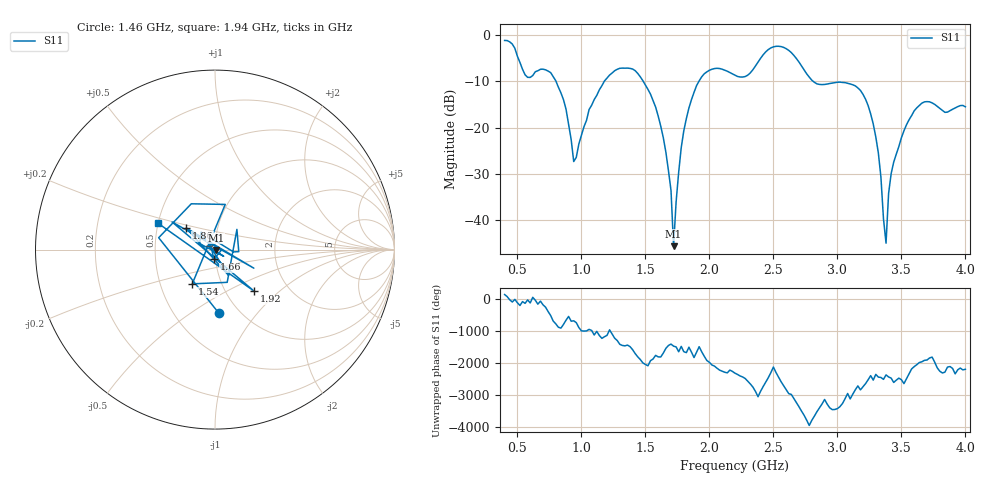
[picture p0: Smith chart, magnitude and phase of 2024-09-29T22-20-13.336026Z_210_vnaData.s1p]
!Created with skrf (http://scikit-rf.org).
# Hz S RI R 50.0
!freq ReS11 ImS11
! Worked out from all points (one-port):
!   181 points, 400 MHz to 4 GHz, reference 50 ohm
!   lowest |S11| = -45.6 dB at 1.72 GHz (marker M1), VSWR 1.01, Z = 50.5 - j0.258 ohm
!   |S11| at or under -10 dB: 801.4 MHz to 1.179 GHz (377.8 MHz wide, 38.1 % of centre); 1.483 GHz to 1.918 GHz (435.9 MHz wide, 25.6 % of centre); 2.81 GHz to end of sweep
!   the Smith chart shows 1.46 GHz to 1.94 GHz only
!   S11 on the Smith chart (normalised r, x): 1.46 GHz: 0.81, -0.65; 1.54 GHz: 0.73, -0.29; 1.66 GHz: 0.98, -0.11; 1.86 GHz: 0.71, +0.18; 1.92 GHz: 1.35, -0.70; 1.94 GHz: 0.50, +0.17
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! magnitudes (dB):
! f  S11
! 400 MHz  -1.2
! 760 MHz  -8.1
! 860 MHz  -14.0
! 940 MHz  -27.3
! 1.06 GHz  -16.1
! 1.3 GHz  -7.2
! 1.46 GHz  -9.0
! 1.54 GHz  -12.8
! 1.66 GHz  -25.3
! 1.7 GHz  -33.5
! 1.72 GHz  -45.6
! 1.76 GHz  -29.6
! 1.86 GHz  -14.0
! 1.92 GHz  -9.9
! 1.94 GHz  -9.0
! 2.2 GHz  -8.7
! 2.5 GHz  -2.6
! 2.66 GHz  -4.4
! 2.84 GHz  -10.6
! 3.1 GHz  -10.6
! 3.28 GHz  -19.2
! 3.32 GHz  -25.5
! 3.38 GHz  -44.9
! 3.4 GHz  -34.2
! 3.42 GHz  -29.9
! 3.56 GHz  -18.3
! 3.68 GHz  -14.5
! 4 GHz  -15.5
